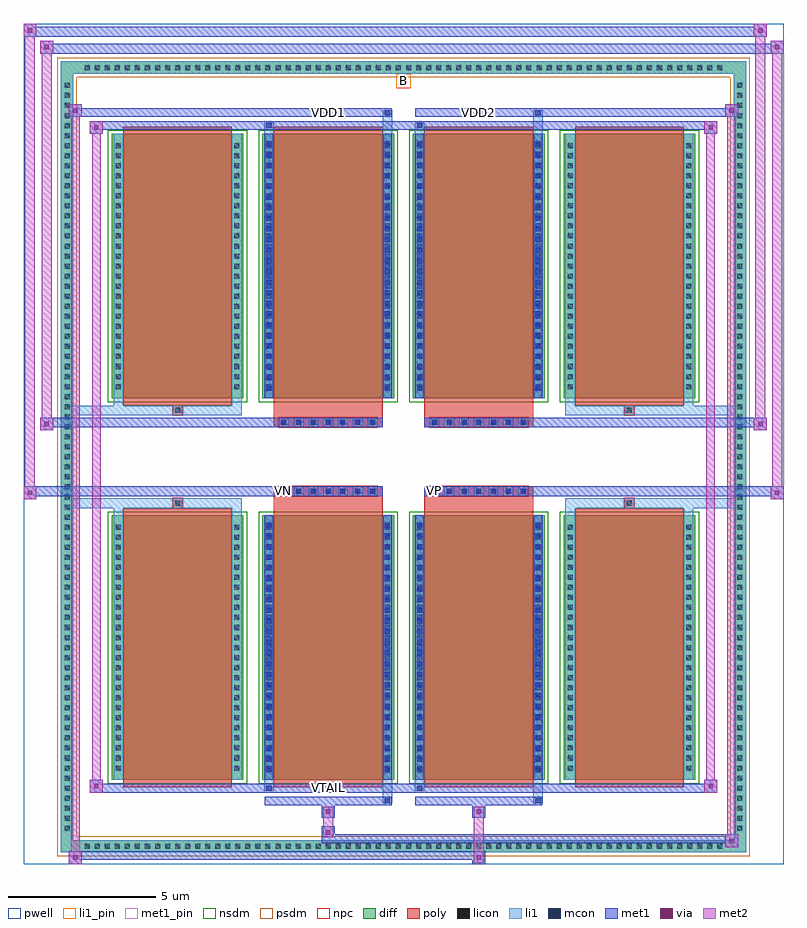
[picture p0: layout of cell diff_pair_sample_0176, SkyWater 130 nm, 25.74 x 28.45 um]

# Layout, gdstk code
import gdstk
lib = gdstk.Library(unit=1e-6, precision=5e-09)
def R(c, l, rs):  # rectangles x0, y0, x1, y1
    for r in rs: c.add(gdstk.rectangle(r[:2], r[2:], *l))
def A(c, l, x, y, w, h, nx, ny, dx, dy):  # array of equal rectangles
    R(c, l, [(x+i*dx, y+j*dy, x+i*dx+w, y+j*dy+h) for i in range(nx) for j in range(ny)])
def P(c, l, *ps):  # polygons
    for p in ps: c.add(gdstk.Polygon(p, *l))
pwell = (64, 44)
diff = (65, 20)
poly = (66, 20)
licon = (66, 44)
li1_pin = (67, 16)
li1 = (67, 20)
mcon = (67, 44)
met1_pin = (68, 16)
met1 = (68, 20)
via = (68, 44)
met2 = (69, 20)
nsdm = (93, 44)
psdm = (94, 20)
npc = (95, 20)

diff_pair_sample_0176 = lib.new_cell('diff_pair_sample_0176')
R(diff_pair_sample_0176, pwell, [(-12.87,-13.79,12.87,14.66), (-10.19,-11.98,-0.01,-0.8), (0.01,-11.98,10.19,-0.8), (-10.19,0.8,-0.01,11.98), (0.01,0.8,10.19,11.98)])
A(diff_pair_sample_0176, diff, -10.915, -13.39, 0.41, 0.41, 64, 2, 0.34, 26.37)
A(diff_pair_sample_0176, diff, -11.6, -12.785, 0.41, 0.41, 1, 75, 0, 0.34)
A(diff_pair_sample_0176, diff, 11.19, -12.785, 0.41, 0.41, 1, 75, 0, 0.34)
A(diff_pair_sample_0176, diff, -9.88, -10.935, 4.46, 8.95, 4, 2, 5.1, 12.92)
R(diff_pair_sample_0176, diff, [(-10.915,-13.39,10.915,-12.98), (-11.6,-12.785,-11.19,12.785), (11.19,-12.785,11.6,12.785), (-10.915,12.98,10.915,13.39)])
P(diff_pair_sample_0176, diff, [(11.6,13.39),(-11.6,13.39),(-11.6,-12.98),(-11.19,-12.98),(-11.19,12.98),(11.19,12.98),(11.19,-12.98),(-11.19,-12.98),(-11.6,-12.98),(-11.6,-13.39),(11.6,-13.39)])
A(diff_pair_sample_0176, poly, -9.49, -11.185, 3.68, 9.45, 4, 2, 5.1, 12.92)
A(diff_pair_sample_0176, poly, -4.215, -1.33, 0.33, 0.33, 7, 2, 0.5, 2.33)
A(diff_pair_sample_0176, poly, 0.885, -1.33, 0.33, 0.33, 7, 2, 0.5, 2.33)
R(diff_pair_sample_0176, poly, [(-7.815,-1.735,-7.485,-1.405), (-7.815,-1.735,-7.485,-1.405), (-4.39,-1.735,-0.71,-1.33), (0.71,-1.735,4.39,-1.33), (7.485,-1.735,7.815,-1.405), (7.485,-1.735,7.815,-1.405), (-4.39,-1.33,-0.71,-1), (0.71,-1.33,4.39,-1), (-4.39,1,-0.71,1.33), (0.71,1,4.39,1.33), (-4.39,1.33,-0.71,1.735), (0.71,1.33,4.39,1.735), (-7.815,1.405,-7.485,1.735), (-7.815,1.405,-7.485,1.735), (7.485,1.405,7.815,1.735), (7.485,1.405,7.815,1.735)])
A(diff_pair_sample_0176, licon, -10.795, -13.27, 0.17, 0.17, 64, 2, 0.34, 26.37)
A(diff_pair_sample_0176, licon, -11.48, -12.665, 0.17, 0.17, 1, 75, 0, 0.34)
A(diff_pair_sample_0176, licon, 11.31, -12.665, 0.17, 0.17, 1, 75, 0, 0.34)
A(diff_pair_sample_0176, licon, -9.74, -10.625, 0.17, 0.17, 1, 25, 0, 0.34)
A(diff_pair_sample_0176, licon, -5.73, -10.625, 0.17, 0.17, 1, 25, 0, 0.34)
A(diff_pair_sample_0176, licon, -4.64, -10.625, 0.17, 0.17, 1, 25, 0, 0.34)
A(diff_pair_sample_0176, licon, -0.63, -10.625, 0.17, 0.17, 1, 25, 0, 0.34)
A(diff_pair_sample_0176, licon, 0.46, -10.625, 0.17, 0.17, 1, 25, 0, 0.34)
A(diff_pair_sample_0176, licon, 4.47, -10.625, 0.17, 0.17, 1, 25, 0, 0.34)
A(diff_pair_sample_0176, licon, 5.56, -10.625, 0.17, 0.17, 1, 25, 0, 0.34)
A(diff_pair_sample_0176, licon, 9.57, -10.625, 0.17, 0.17, 1, 25, 0, 0.34)
A(diff_pair_sample_0176, licon, -4.135, -1.25, 0.17, 0.17, 7, 2, 0.5, 2.33)
A(diff_pair_sample_0176, licon, 0.965, -1.25, 0.17, 0.17, 7, 2, 0.5, 2.33)
A(diff_pair_sample_0176, licon, -9.74, 2.295, 0.17, 0.17, 1, 25, 0, 0.34)
A(diff_pair_sample_0176, licon, -5.73, 2.295, 0.17, 0.17, 1, 25, 0, 0.34)
A(diff_pair_sample_0176, licon, -4.64, 2.295, 0.17, 0.17, 1, 25, 0, 0.34)
A(diff_pair_sample_0176, licon, -0.63, 2.295, 0.17, 0.17, 1, 25, 0, 0.34)
A(diff_pair_sample_0176, licon, 0.46, 2.295, 0.17, 0.17, 1, 25, 0, 0.34)
A(diff_pair_sample_0176, licon, 4.47, 2.295, 0.17, 0.17, 1, 25, 0, 0.34)
A(diff_pair_sample_0176, licon, 5.56, 2.295, 0.17, 0.17, 1, 25, 0, 0.34)
A(diff_pair_sample_0176, licon, 9.57, 2.295, 0.17, 0.17, 1, 25, 0, 0.34)
R(diff_pair_sample_0176, licon, [(-7.735,-1.655,-7.565,-1.485), (7.565,-1.655,7.735,-1.485), (-7.735,1.485,-7.565,1.655), (7.565,1.485,7.735,1.655)])
R(diff_pair_sample_0176, li1_pin, [(-0.25,12.48,0.25,12.98)])
A(diff_pair_sample_0176, li1, -10.875, -13.35, 0.33, 0.33, 64, 2, 0.34, 26.37)
A(diff_pair_sample_0176, li1, -11.56, -12.745, 0.33, 0.33, 1, 75, 0, 0.34)
A(diff_pair_sample_0176, li1, 11.23, -12.745, 0.33, 0.33, 1, 75, 0, 0.34)
A(diff_pair_sample_0176, li1, -9.82, -10.705, 0.33, 0.33, 1, 25, 0, 0.34)
A(diff_pair_sample_0176, li1, -5.81, -10.705, 0.33, 0.33, 1, 25, 0, 0.34)
A(diff_pair_sample_0176, li1, -4.72, -10.705, 0.33, 0.33, 1, 25, 0, 0.34)
A(diff_pair_sample_0176, li1, -0.71, -10.705, 0.33, 0.33, 1, 25, 0, 0.34)
A(diff_pair_sample_0176, li1, 0.38, -10.705, 0.33, 0.33, 1, 25, 0, 0.34)
A(diff_pair_sample_0176, li1, 4.39, -10.705, 0.33, 0.33, 1, 25, 0, 0.34)
A(diff_pair_sample_0176, li1, 5.48, -10.705, 0.33, 0.33, 1, 25, 0, 0.34)
A(diff_pair_sample_0176, li1, 9.49, -10.705, 0.33, 0.33, 1, 25, 0, 0.34)
A(diff_pair_sample_0176, li1, -4.64, -10.685, 0.17, 0.17, 1, 24, 0, 0.36)
A(diff_pair_sample_0176, li1, -0.63, -10.685, 0.17, 0.17, 1, 24, 0, 0.36)
A(diff_pair_sample_0176, li1, 0.46, -10.685, 0.17, 0.17, 1, 24, 0, 0.36)
A(diff_pair_sample_0176, li1, 4.47, -10.685, 0.17, 0.17, 1, 24, 0, 0.36)
A(diff_pair_sample_0176, li1, -4.215, -1.33, 0.33, 0.33, 7, 2, 0.5, 2.33)
A(diff_pair_sample_0176, li1, 0.885, -1.33, 0.33, 0.33, 7, 2, 0.5, 2.33)
A(diff_pair_sample_0176, li1, -9.82, 2.215, 0.33, 0.33, 1, 25, 0, 0.34)
A(diff_pair_sample_0176, li1, -5.81, 2.215, 0.33, 0.33, 1, 25, 0, 0.34)
A(diff_pair_sample_0176, li1, -4.72, 2.215, 0.33, 0.33, 1, 25, 0, 0.34)
A(diff_pair_sample_0176, li1, -0.71, 2.215, 0.33, 0.33, 1, 25, 0, 0.34)
A(diff_pair_sample_0176, li1, 0.38, 2.215, 0.33, 0.33, 1, 25, 0, 0.34)
A(diff_pair_sample_0176, li1, 4.39, 2.215, 0.33, 0.33, 1, 25, 0, 0.34)
A(diff_pair_sample_0176, li1, 5.48, 2.215, 0.33, 0.33, 1, 25, 0, 0.34)
A(diff_pair_sample_0176, li1, 9.49, 2.215, 0.33, 0.33, 1, 25, 0, 0.34)
A(diff_pair_sample_0176, li1, -4.64, 2.235, 0.17, 0.17, 1, 24, 0, 0.36)
A(diff_pair_sample_0176, li1, -0.63, 2.235, 0.17, 0.17, 1, 24, 0, 0.36)
A(diff_pair_sample_0176, li1, 0.46, 2.235, 0.17, 0.17, 1, 24, 0, 0.36)
A(diff_pair_sample_0176, li1, 4.47, 2.235, 0.17, 0.17, 1, 24, 0, 0.36)
R(diff_pair_sample_0176, li1, [(-11.6,-13.39,-11.19,-12.98), (-11.6,-13.39,-11.19,-12.98), (-11.19,-13.39,11.19,-12.98), (11.19,-13.39,11.6,-12.98), (11.19,-13.39,11.6,-12.98), (-11.6,-12.98,-11.19,12.98), (11.19,-12.98,11.6,12.98), (-0.71,-11.74,-0.38,-10.935), (-0.63,-11.74,-0.46,-11.57), (4.39,-11.74,4.72,-10.935), (4.47,-11.74,4.64,-11.57), (-4.72,-11.31,-4.39,-10.935), (-4.64,-11.31,-4.47,-11.14), (0.38,-11.31,0.71,-10.935), (0.46,-11.31,0.63,-11.14), (-9.82,-10.935,-9.49,-1.985), (-5.81,-10.935,-5.48,-1.985), (-4.72,-10.935,-4.39,-1.985), (-0.71,-10.935,-0.38,-1.985), (0.38,-10.935,0.71,-1.985), (4.39,-10.935,4.72,-1.985), (5.48,-10.935,5.81,-1.985), (9.49,-10.935,9.82,-1.985), (-4.64,-10.685,-4.47,-2.235), (-0.63,-10.685,-0.46,-2.235), (0.46,-10.685,0.63,-2.235), (4.47,-10.685,4.64,-2.235), (-9.82,-1.985,-9.49,-1.405), (-5.81,-1.985,-5.48,-1.405), (5.48,-1.985,5.81,-1.405), (9.49,-1.985,9.82,-1.405), (-11.6,-1.735,-7.815,-1.405), (-9.82,-1.735,-7.815,-1.405), (-7.815,-1.735,-7.485,-1.405), (-7.485,-1.735,-5.48,-1.405), (5.48,-1.735,7.485,-1.405), (7.485,-1.735,7.815,-1.405), (7.485,-1.735,11.6,-1.405), (7.815,-1.735,9.82,-1.405), (-11.6,1.405,-7.815,1.735), (-9.82,1.405,-7.815,1.735), (-9.82,1.405,-9.49,1.985), (-7.815,1.405,-7.485,1.735), (-7.485,1.405,-5.48,1.735), (-5.81,1.405,-5.48,1.985), (5.48,1.405,7.485,1.735), (5.48,1.405,5.81,1.985), (7.485,1.405,7.815,1.735), (7.485,1.405,11.6,1.735), (7.815,1.405,9.82,1.735), (9.49,1.405,9.82,1.985), (-9.82,1.985,-9.49,10.935), (-5.81,1.985,-5.48,10.935), (-4.72,1.985,-4.39,10.935), (-0.71,1.985,-0.38,10.935), (0.38,1.985,0.71,10.935), (4.39,1.985,4.72,10.935), (5.48,1.985,5.81,10.935), (9.49,1.985,9.82,10.935), (-4.64,2.235,-4.47,10.685), (-0.63,2.235,-0.46,10.685), (0.46,2.235,0.63,10.685), (4.47,2.235,4.64,10.685), (-4.72,10.935,-4.39,11.31), (-0.71,10.935,-0.38,11.74), (0.38,10.935,0.71,11.31), (4.39,10.935,4.72,11.74), (-4.64,11.14,-4.47,11.31), (0.46,11.14,0.63,11.31), (-0.63,11.57,-0.46,11.74), (4.47,11.57,4.64,11.74), (-11.6,12.98,-11.19,13.39), (-11.6,12.98,-11.19,13.39), (-11.19,12.98,11.19,13.39), (11.19,12.98,11.6,13.39), (11.19,12.98,11.6,13.39)])
A(diff_pair_sample_0176, mcon, -4.64, -10.685, 0.17, 0.17, 1, 24, 0, 0.36)
A(diff_pair_sample_0176, mcon, -0.63, -10.685, 0.17, 0.17, 1, 24, 0, 0.36)
A(diff_pair_sample_0176, mcon, 0.46, -10.685, 0.17, 0.17, 1, 24, 0, 0.36)
A(diff_pair_sample_0176, mcon, 4.47, -10.685, 0.17, 0.17, 1, 24, 0, 0.36)
A(diff_pair_sample_0176, mcon, -4.135, -1.25, 0.17, 0.17, 7, 2, 0.5, 2.33)
A(diff_pair_sample_0176, mcon, 0.965, -1.25, 0.17, 0.17, 7, 2, 0.5, 2.33)
A(diff_pair_sample_0176, mcon, -4.64, 2.235, 0.17, 0.17, 1, 24, 0, 0.36)
A(diff_pair_sample_0176, mcon, -0.63, 2.235, 0.17, 0.17, 1, 24, 0, 0.36)
A(diff_pair_sample_0176, mcon, 0.46, 2.235, 0.17, 0.17, 1, 24, 0, 0.36)
A(diff_pair_sample_0176, mcon, 4.47, 2.235, 0.17, 0.17, 1, 24, 0, 0.36)
R(diff_pair_sample_0176, mcon, [(-0.63,-11.74,-0.46,-11.57), (4.47,-11.74,4.64,-11.57), (-4.64,-11.31,-4.47,-11.14), (0.46,-11.31,0.63,-11.14), (-4.64,11.14,-4.47,11.31), (0.46,11.14,0.63,11.31), (-0.63,11.57,-0.46,11.74), (4.47,11.57,4.64,11.74)])
R(diff_pair_sample_0176, met1_pin, [(-2.685,-11.35,-2.415,-11.08), (-4.185,-1.29,-3.915,-1.02), (0.915,-1.29,1.185,-1.02), (-2.685,11.53,-2.415,11.8), (2.415,11.53,2.685,11.8)])
A(diff_pair_sample_0176, met1, -4.7, -10.745, 0.29, 0.29, 1, 24, 0, 0.36)
A(diff_pair_sample_0176, met1, -0.69, -10.745, 0.29, 0.29, 1, 24, 0, 0.36)
A(diff_pair_sample_0176, met1, 0.4, -10.745, 0.29, 0.29, 1, 24, 0, 0.36)
A(diff_pair_sample_0176, met1, 4.41, -10.745, 0.29, 0.29, 1, 24, 0, 0.36)
A(diff_pair_sample_0176, met1, -4.195, -1.31, 0.29, 0.29, 7, 2, 0.5, 2.33)
A(diff_pair_sample_0176, met1, 0.905, -1.31, 0.29, 0.29, 7, 2, 0.5, 2.33)
A(diff_pair_sample_0176, met1, -4.7, 2.175, 0.29, 0.29, 1, 24, 0, 0.36)
A(diff_pair_sample_0176, met1, -0.69, 2.175, 0.29, 0.29, 1, 24, 0, 0.36)
A(diff_pair_sample_0176, met1, 0.4, 2.175, 0.29, 0.29, 1, 24, 0, 0.36)
A(diff_pair_sample_0176, met1, 4.41, 2.175, 0.29, 0.29, 1, 24, 0, 0.36)
R(diff_pair_sample_0176, met1, [(-11.33,-13.79,-10.9,-13.36), (2.335,-13.79,2.765,-13.36), (-11.33,-13.65,2.765,-13.36), (10.9,-13.22,11.33,-12.79), (-2.765,-13.08,11.33,-12.79), (-2.765,-12.94,-2.335,-12.51), (-2.765,-12.23,-2.335,-11.8), (2.335,-12.23,2.765,-11.8), (-4.7,-11.8,-0.4,-11.51), (-0.69,-11.8,-0.4,-11.51), (0.4,-11.8,4.7,-11.51), (4.41,-11.8,4.7,-11.51), (-10.62,-11.37,-10.19,-10.94), (-10.62,-11.37,-4.7,-11.08), (-4.7,-11.37,-4.41,-11.08), (-4.7,-11.37,-0.4,-11.08), (-0.4,-11.37,0.4,-11.08), (0.4,-11.37,0.69,-11.08), (0.4,-11.37,4.7,-11.08), (4.7,-11.37,10.62,-11.08), (10.19,-11.37,10.62,-10.94), (-4.7,-10.935,-4.41,-1.985), (-0.69,-10.935,-0.4,-1.985), (0.4,-10.935,0.69,-1.985), (4.41,-10.935,4.7,-1.985), (-12.87,-1.43,-12.44,-1), (12.44,-1.43,12.87,-1), (-12.87,-1.33,-0.71,-1), (-4.39,-1.33,-0.71,-1), (0.71,-1.33,4.39,-1), (0.71,-1.33,12.87,-1), (-12.3,0.9,-11.87,1.33), (11.87,0.9,12.3,1.33), (-12.3,1,-4.39,1.33), (-4.39,1,-0.71,1.33), (0.71,1,4.39,1.33), (4.39,1,12.3,1.33), (-4.7,1.985,-4.41,10.935), (-0.69,1.985,-0.4,10.935), (0.4,1.985,0.69,10.935), (4.41,1.985,4.7,10.935), (-10.62,10.94,-10.19,11.37), (10.19,10.94,10.62,11.37), (-10.62,11.08,-4.7,11.37), (-4.7,11.08,-4.41,11.37), (-4.7,11.08,-0.4,11.37), (-0.4,11.08,0.4,11.37), (0.4,11.08,0.69,11.37), (0.4,11.08,4.7,11.37), (4.7,11.08,10.62,11.37), (-11.33,11.51,-10.9,11.94), (-11.33,11.51,-4.7,11.8), (-4.7,11.51,-0.4,11.8), (-0.69,11.51,-0.4,11.8), (0.4,11.51,4.7,11.8), (4.41,11.51,4.7,11.8), (4.7,11.51,11.33,11.8), (10.9,11.51,11.33,11.94), (-12.3,13.66,-11.87,14.09), (-12.3,13.66,-10.19,13.99), (-10.19,13.66,10.19,13.99), (10.19,13.66,12.87,13.99), (12.44,13.66,12.87,14.09), (-12.87,14.23,-12.44,14.66), (-12.87,14.23,-10.19,14.56), (-10.19,14.23,10.19,14.56), (10.19,14.23,12.3,14.56), (11.87,14.23,12.3,14.66)])
R(diff_pair_sample_0176, via, [(-11.19,-13.65,-11.04,-13.5), (2.475,-13.65,2.625,-13.5), (11.04,-13.08,11.19,-12.93), (-2.625,-12.8,-2.475,-12.65), (-2.625,-12.09,-2.475,-11.94), (2.475,-12.09,2.625,-11.94), (-10.48,-11.23,-10.33,-11.08), (10.33,-11.23,10.48,-11.08), (-12.73,-1.29,-12.58,-1.14), (12.58,-1.29,12.73,-1.14), (-12.16,1.04,-12.01,1.19), (12.01,1.04,12.16,1.19), (-10.48,11.08,-10.33,11.23), (10.33,11.08,10.48,11.23), (-11.19,11.65,-11.04,11.8), (11.04,11.65,11.19,11.8), (-12.16,13.8,-12.01,13.95), (12.58,13.8,12.73,13.95), (-12.73,14.37,-12.58,14.52), (12.01,14.37,12.16,14.52)])
R(diff_pair_sample_0176, met2, [(-11.33,-13.79,-10.9,-13.36), (-11.26,-13.79,-10.97,11.94), (-10.97,-13.79,-10.9,-13.36), (-11.28,-13.74,-10.95,-13.41), (2.385,-13.74,2.715,-13.41), (2.385,-13.41,2.715,-12.18), (10.9,-13.22,11.33,-12.79), (10.97,-13.22,11.26,11.94), (11.26,-13.22,11.33,-12.79), (10.95,-13.17,11.28,-12.84), (-2.715,-12.89,-2.385,-12.56), (-2.715,-12.56,-2.385,-12.18), (-2.715,-12.18,-2.385,-11.85), (2.385,-12.18,2.715,-11.85), (-10.62,-11.37,-10.19,-10.94), (-10.55,-11.37,-10.26,11.37), (-10.26,-11.37,-10.19,-10.94), (10.19,-11.37,10.62,-10.94), (10.26,-11.37,10.55,11.37), (10.55,-11.37,10.62,-10.94), (-10.57,-11.32,-10.24,-10.99), (10.24,-11.32,10.57,-10.99), (-12.87,-1.43,-12.44,-1), (-12.82,-1.43,-12.49,14.66), (-12.49,-1.43,-12.44,-1), (12.44,-1.43,12.87,-1), (12.49,-1.43,12.82,14.09), (12.82,-1.43,12.87,-1), (-12.82,-1.38,-12.49,-1.05), (12.49,-1.38,12.82,-1.05), (-12.3,0.9,-11.87,1.33), (-12.25,0.9,-11.92,14.09), (-11.92,0.9,-11.87,1.33), (11.87,0.9,12.3,1.33), (11.92,0.9,12.25,14.66), (12.25,0.9,12.3,1.33), (-12.25,0.95,-11.92,1.28), (11.92,0.95,12.25,1.28), (-10.62,10.94,-10.19,11.37), (-10.26,10.94,-10.19,11.37), (10.19,10.94,10.62,11.37), (10.55,10.94,10.62,11.37), (-10.57,10.99,-10.24,11.32), (10.24,10.99,10.57,11.32), (-11.33,11.51,-10.9,11.94), (-10.97,11.51,-10.9,11.94), (10.9,11.51,11.33,11.94), (11.26,11.51,11.33,11.94), (-11.28,11.56,-10.95,11.89), (10.95,11.56,11.28,11.89), (-12.3,13.66,-11.87,14.09), (-11.92,13.66,-11.87,14.09), (12.44,13.66,12.87,14.09), (12.82,13.66,12.87,14.09), (-12.25,13.71,-11.92,14.04), (12.49,13.71,12.82,14.04), (-12.87,14.23,-12.44,14.66), (-12.49,14.23,-12.44,14.66), (11.87,14.23,12.3,14.66), (12.25,14.23,12.3,14.66), (-12.82,14.28,-12.49,14.61), (11.92,14.28,12.25,14.61)])
A(diff_pair_sample_0176, nsdm, -10.01, -11.065, 4.72, 9.21, 4, 2, 5.1, 12.92)
P(diff_pair_sample_0176, psdm, [(11.73,13.52),(-11.73,13.52),(-11.73,-12.85),(-11.06,-12.85),(-11.06,12.85),(11.06,12.85),(11.06,-12.85),(-11.06,-12.85),(-11.73,-12.85),(-11.73,-13.52),(11.73,-13.52)])
A(diff_pair_sample_0176, npc, -4.235, -1.35, 0.37, 0.37, 7, 2, 0.5, 2.33)
A(diff_pair_sample_0176, npc, 0.865, -1.35, 0.37, 0.37, 7, 2, 0.5, 2.33)
R(diff_pair_sample_0176, npc, [(-7.835,-1.755,-7.465,-1.385), (7.465,-1.755,7.835,-1.385), (-4.235,-1.35,-3.365,-0.98), (-4.235,-1.35,-3.365,-0.98), (-3.735,-1.35,-2.865,-0.98), (-3.735,-1.35,-2.865,-0.98), (-3.235,-1.35,-2.365,-0.98), (-3.235,-1.35,-2.365,-0.98), (-2.735,-1.35,-1.865,-0.98), (-2.735,-1.35,-1.865,-0.98), (-2.235,-1.35,-1.365,-0.98), (-2.235,-1.35,-1.365,-0.98), (-1.735,-1.35,-0.865,-0.98), (-1.735,-1.35,-0.865,-0.98), (0.865,-1.35,1.735,-0.98), (0.865,-1.35,1.735,-0.98), (1.365,-1.35,2.235,-0.98), (1.365,-1.35,2.235,-0.98), (1.865,-1.35,2.735,-0.98), (1.865,-1.35,2.735,-0.98), (2.365,-1.35,3.235,-0.98), (2.365,-1.35,3.235,-0.98), (2.865,-1.35,3.735,-0.98), (2.865,-1.35,3.735,-0.98), (3.365,-1.35,4.235,-0.98), (3.365,-1.35,4.235,-0.98), (-4.235,0.98,-3.365,1.35), (-4.235,0.98,-3.365,1.35), (-3.735,0.98,-2.865,1.35), (-3.735,0.98,-2.865,1.35), (-3.235,0.98,-2.365,1.35), (-3.235,0.98,-2.365,1.35), (-2.735,0.98,-1.865,1.35), (-2.735,0.98,-1.865,1.35), (-2.235,0.98,-1.365,1.35), (-2.235,0.98,-1.365,1.35), (-1.735,0.98,-0.865,1.35), (-1.735,0.98,-0.865,1.35), (0.865,0.98,1.735,1.35), (0.865,0.98,1.735,1.35), (1.365,0.98,2.235,1.35), (1.365,0.98,2.235,1.35), (1.865,0.98,2.735,1.35), (1.865,0.98,2.735,1.35), (2.365,0.98,3.235,1.35), (2.365,0.98,3.235,1.35), (2.865,0.98,3.735,1.35), (2.865,0.98,3.735,1.35), (3.365,0.98,4.235,1.35), (3.365,0.98,4.235,1.35), (-7.835,1.385,-7.465,1.755), (7.465,1.385,7.835,1.755)])
diff_pair_sample_0176.add(gdstk.Label('VTAIL', (-2.55,-11.215), layer=68, texttype=5))
diff_pair_sample_0176.add(gdstk.Label('VN', (-4.05,-1.155), layer=68, texttype=5))
diff_pair_sample_0176.add(gdstk.Label('VP', (1.05,-1.155), layer=68, texttype=5))
diff_pair_sample_0176.add(gdstk.Label('B', (0,12.73), layer=67, texttype=5))
diff_pair_sample_0176.add(gdstk.Label('VDD2', (2.55,11.665), layer=68, texttype=5))
diff_pair_sample_0176.add(gdstk.Label('VDD1', (-2.55,11.665), layer=68, texttype=5))

lib.write_gds('diff_pair_sample_0176.gds')
